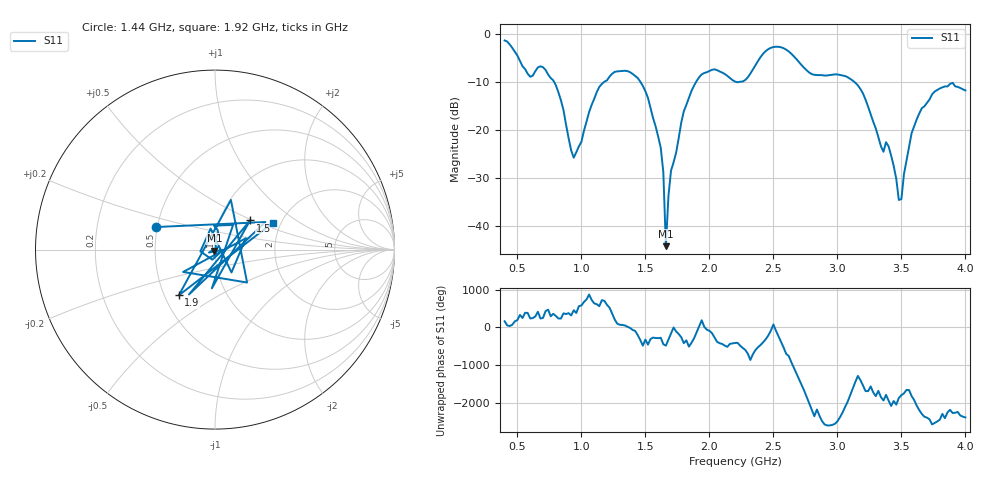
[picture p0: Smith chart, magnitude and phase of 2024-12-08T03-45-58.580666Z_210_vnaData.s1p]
!Created with skrf (http://scikit-rf.org).
# Hz S RI R 50.0
!freq ReS11 ImS11
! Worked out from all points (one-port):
!   181 points, 400 MHz to 4 GHz, reference 50 ohm
!   lowest |S11| = -44.3 dB at 1.66 GHz (marker M1), VSWR 1.01, Z = 49.7 - j0.526 ohm
!   |S11| at or under -10 dB: 787.5 MHz to 1.176 GHz (388.4 MHz wide, 39.6 % of centre); 1.462 GHz to 1.895 GHz (432.7 MHz wide, 25.8 % of centre); 3.135 GHz to end of sweep (the widest 3 of 4)
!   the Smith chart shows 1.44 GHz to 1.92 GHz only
!   S11 on the Smith chart (normalised r, x): 1.44 GHz: 0.49, +0.14; 1.5 GHz: 1.39, +0.48; 1.9 GHz: 0.59, -0.34; 1.92 GHz: 1.82, +0.63
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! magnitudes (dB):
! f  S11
! 400 MHz  -1.3
! 600 MHz  -8.9
! 720 MHz  -7.4
! 860 MHz  -15.8
! 940 MHz  -25.8
! 1.14 GHz  -11.0
! 1.3 GHz  -7.7
! 1.44 GHz  -9.1
! 1.5 GHz  -11.9
! 1.62 GHz  -23.7
! 1.64 GHz  -28.8
! 1.66 GHz  -44.3
! 1.68 GHz  -33.8
! 1.7 GHz  -28.5
! 1.76 GHz  -21.7
! 1.9 GHz  -9.8
! 1.92 GHz  -9.0
! 2.2 GHz  -9.9
! 2.48 GHz  -2.8
! 2.66 GHz  -4.6
! 3.1 GHz  -9.3
! 3.2 GHz  -12.4
! 3.36 GHz  -24.5
! 3.4 GHz  -23.4
! 3.48 GHz  -34.6
! 3.56 GHz  -23.5
! 3.76 GHz  -12.0
! 4 GHz  -11.7
